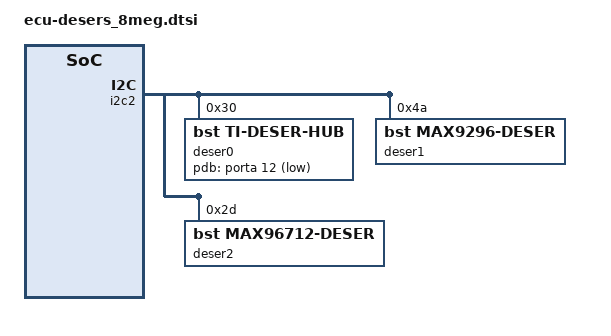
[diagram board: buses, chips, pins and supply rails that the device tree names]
/*
   default deser config for ecu-8MEG
   deser0@i2c2 0x30:    ti960
   deser1@i2c2 0x4a:    max9296
   deser2@i2c2 0x2d:    max96712
*/

&i2c2 {
    #address-cells = <1>;
    #size-cells = <0>;

    deser0: ti960@0x30 {
        compatible = "bst,ti-deser-hub";
        type = "ti960";
        reg = <0x30>;
        i2c-port = <0>;
        csi2-port = <0>;
        lane-speed = <1600>;
        pdb-gpio = <&porta 12 1>;
    };
    deser1: max9296@4a {
        compatible = "bst,max9296-deser";
        type = "max9296";
        reg = <0x4a>;
        i2c-port = <0>;
        csi2-port = <0>;
        lane-speed = <1600>;
        regs = <0x45 0x46>;
        maxim,fsync-mode = "manual";
        maxim,him = <1>;
        maxim,fsync_period = <3072000>;         /*76.8MHz/25fps*/ 
        maxim,bws = <0>;
        maxim,dbl = <1>;
        maxim,dt = <3>;      /*YUV8*/
        maxim,hsync_invert = <0>;
        maxim,vsync_invert = <1>; 
    };
    deser2: max96712@2d {
        compatible = "bst,max96712-deser";
        type = "max96712";
        reg = <0x2d>;
        i2c-port = <0>;
        csi2-port = <0>;
        lane-speed = <1600>;
        regs = <0x49 0x4b 0x4c 0x4d>;
        maxim,fsync-mode = "manual";
        maxim,him = <1>;
        maxim,fsync_period = <3072000>;         /*76.8MHz/25fps*/ 
        maxim,bws = <0>;
        maxim,dbl = <1>;
        maxim,dt = <3>;      /*YUV8*/
        maxim,hsync_invert = <0>;
        maxim,vsync_invert = <1>;
        maxim,link_mode = "GSML2";                    /*ar0143:GSML1/imx424:GSML2*/
    };
};

#include "../common/deser.dtsi"
